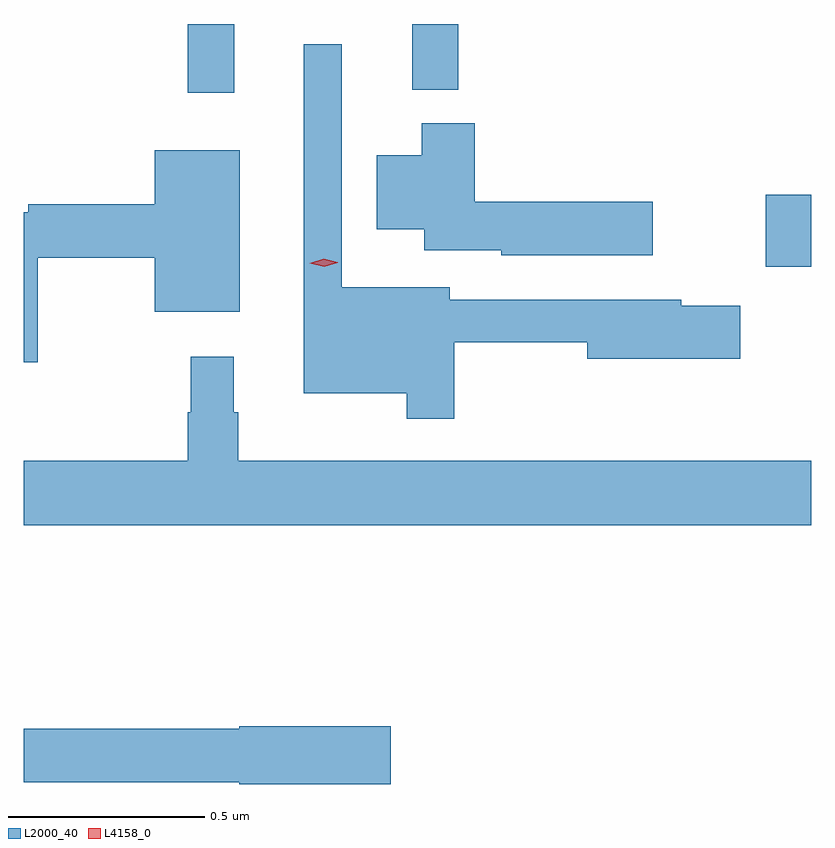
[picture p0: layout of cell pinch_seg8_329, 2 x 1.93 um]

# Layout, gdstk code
import gdstk
lib = gdstk.Library(unit=1e-6, precision=1e-09)
def R(c, l, rs):  # rectangles x0, y0, x1, y1
    for r in rs: c.add(gdstk.rectangle(r[:2], r[2:], *l))
def P(c, l, *ps):  # polygons
    for p in ps: c.add(gdstk.Polygon(p, *l))
L2000_40 = (2000, 40)
L4158_0 = (4158, 0)

pinch_seg8_329 = lib.new_cell('pinch_seg8_329')
R(pinch_seg8_329, L2000_40, [(612.462,1127.813,612.577,1127.996), (610.993,1128.255,611.111,1128.43), (611.564,1128.263,611.681,1128.43)])
P(pinch_seg8_329, L2000_40, [(611.671,1127.622),(612.008,1127.622),(612.008,1127.579),(612.397,1127.579),(612.397,1127.714),(612.247,1127.714),(612.247,1127.73),(611.659,1127.73),(611.659,1127.761),(611.385,1127.761),(611.385,1128.379),(611.288,1128.379),(611.288,1127.492),(611.55,1127.492),(611.55,1127.427),(611.671,1127.427)],
  [(612.175,1127.978),(611.723,1127.978),(611.723,1128.178),(611.588,1128.178),(611.588,1128.097),(611.474,1128.097),(611.474,1127.909),(611.594,1127.909),(611.594,1127.855),(611.79,1127.855),(611.79,1127.843),(612.175,1127.843)],
  [(610.612,1127.836),(610.91,1127.836),(610.91,1127.699),(611.125,1127.699),(611.125,1128.109),(610.91,1128.109),(610.91,1127.972),(610.588,1127.972),(610.588,1127.952),(610.577,1127.952),(610.577,1127.571),(610.612,1127.571)],
  [(612.577,1127.32),(611.122,1127.32),(611.122,1127.444),(611.11,1127.444),(611.11,1127.584),(611.001,1127.584),(611.001,1127.444),(610.993,1127.444),(610.993,1127.32),(610.577,1127.32),(610.577,1127.156),(612.577,1127.156)],
  [(611.509,1126.646),(611.124,1126.646),(611.124,1126.64),(610.577,1126.64),(610.577,1126.504),(611.124,1126.504),(611.124,1126.499),(611.509,1126.499)])
P(pinch_seg8_329, L4158_0, [(611.34,1127.813),(611.303,1127.822),(611.303,1127.822),(611.303,1127.822),(611.339,1127.833),(611.375,1127.825),(611.375,1127.825),(611.375,1127.824)])

lib.write_gds('pinch_seg8_329.gds')
